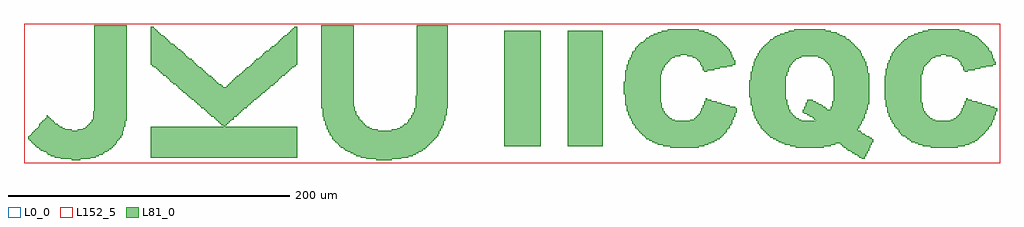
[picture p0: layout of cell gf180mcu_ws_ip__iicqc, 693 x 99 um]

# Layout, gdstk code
import gdstk
lib = gdstk.Library(unit=1e-6, precision=1e-09)
def R(c, l, rs):  # rectangles x0, y0, x1, y1
    for r in rs: c.add(gdstk.rectangle(r[:2], r[2:], *l))
def P(c, l, *ps):  # polygons
    for p in ps: c.add(gdstk.Polygon(p, *l))
L0_0 = (0, 0)
L81_0 = (81, 0)
L152_5 = (152, 5)

gf180mcu_ws_ip__iicqc = lib.new_cell('gf180mcu_ws_ip__iicqc')
R(gf180mcu_ws_ip__iicqc, L0_0, [(0,0,693,99)])
R(gf180mcu_ws_ip__iicqc, L81_0, [(341,12,367,94), (386,12,411,94)])
P(gf180mcu_ws_ip__iicqc, L81_0, [(459,11),(459,12),(454,12),(454,13),(450,13),(450,14),(448,14),(448,15),(446,15),(446,16),(444,16),(444,17),(442,17),(442,18),(441,18),(441,19),(440,19),(440,20),(439,20),(439,21),(438,21),(438,22),(437,22),(437,23),(436,23),(436,24),(435,24),(435,25),(434,25),(434,27),(433,27),(433,28),(432,28),(432,30),(431,30),(431,32),(430,32),(430,34),(429,34),(429,37),(428,37),(428,41),(427,41),(427,49),(426,49),(426,58),(427,58),(427,66),(428,66),(428,70),(429,70),(429,73),(430,73),(430,75),(431,75),(431,77),(432,77),(432,79),(433,79),(433,80),(434,80),(434,82),(435,82),(435,83),(436,83),(436,84),(437,84),(437,85),(438,85),(438,86),(440,86),(440,87),(441,87),(441,88),(442,88),(442,89),(444,89),(444,90),(445,90),(445,91),(447,91),(447,92),(450,92),(450,93),(453,93),(453,94),(457,94),(457,95),(479,95),(479,94),(483,94),(483,93),(486,93),(486,92),(488,92),(488,91),(490,91),(490,90),(492,90),(492,89),(493,89),(493,88),(494,88),(494,87),(495,87),(495,86),(496,86),(496,85),(497,85),(497,84),(498,84),(498,83),(499,83),(499,82),(500,82),(500,81),(501,81),(501,79),(502,79),(502,77),(503,77),(503,75),(504,75),(504,73),(505,73),(505,70),(503,70),(503,69),(499,69),(499,68),(494,68),(494,67),(490,67),(490,66),(485,66),(485,65),(483,65),(483,66),(482,66),(482,69),(481,69),(481,70),(480,70),(480,72),(479,72),(479,73),(478,73),(478,74),(477,74),(477,75),(475,75),(475,76),(471,76),(471,77),(466,77),(466,76),(462,76),(462,75),(460,75),(460,74),(459,74),(459,73),(458,73),(458,72),(457,72),(457,71),(456,71),(456,70),(455,70),(455,68),(454,68),(454,66),(453,66),(453,63),(452,63),(452,43),(453,43),(453,39),(454,39),(454,37),(455,37),(455,35),(456,35),(456,34),(457,34),(457,33),(458,33),(458,32),(460,32),(460,31),(462,31),(462,30),(473,30),(473,31),(476,31),(476,32),(477,32),(477,33),(478,33),(478,34),(479,34),(479,35),(480,35),(480,37),(481,37),(481,39),(482,39),(482,41),(483,41),(483,44),(484,44),(484,46),(485,46),(485,45),(488,45),(488,44),(492,44),(492,43),(495,43),(495,42),(498,42),(498,41),(501,41),(501,40),(505,40),(505,39),(506,39),(506,36),(505,36),(505,33),(504,33),(504,31),(503,31),(503,28),(502,28),(502,27),(501,27),(501,25),(500,25),(500,24),(499,24),(499,22),(498,22),(498,21),(497,21),(497,20),(496,20),(496,19),(495,19),(495,18),(494,18),(494,17),(492,17),(492,16),(490,16),(490,15),(488,15),(488,14),(486,14),(486,13),(483,13),(483,12),(479,12),(479,11)],
  [(595,3),(595,4),(593,4),(593,5),(592,5),(592,6),(590,6),(590,7),(588,7),(588,8),(587,8),(587,9),(585,9),(585,10),(584,10),(584,11),(582,11),(582,12),(581,12),(581,13),(580,13),(580,14),(576,14),(576,13),(573,13),(573,12),(568,12),(568,11),(548,11),(548,12),(544,12),(544,13),(540,13),(540,14),(538,14),(538,15),(536,15),(536,16),(534,16),(534,17),(532,17),(532,18),(530,18),(530,19),(529,19),(529,20),(528,20),(528,21),(527,21),(527,22),(526,22),(526,23),(525,23),(525,24),(524,24),(524,25),(523,25),(523,27),(522,27),(522,28),(521,28),(521,30),(520,30),(520,32),(519,32),(519,34),(518,34),(518,37),(517,37),(517,41),(516,41),(516,47),(515,47),(515,59),(516,59),(516,65),(517,65),(517,69),(518,69),(518,72),(519,72),(519,74),(520,74),(520,76),(552,76),(552,75),(550,75),(550,74),(548,74),(548,73),(547,73),(547,72),(546,72),(546,71),(545,71),(545,70),(544,70),(544,68),(543,68),(543,65),(542,65),(542,62),(541,62),(541,45),(542,45),(542,41),(543,41),(543,38),(544,38),(544,36),(545,36),(545,35),(546,35),(546,34),(547,34),(547,33),(548,33),(548,32),(550,32),(550,31),(552,31),(552,30),(562,30),(562,31),(561,31),(561,32),(560,32),(560,33),(558,33),(558,34),(556,34),(556,35),(554,35),(554,36),(553,36),(553,38),(554,38),(554,40),(555,40),(555,43),(556,43),(556,45),(560,45),(560,44),(562,44),(562,43),(564,43),(564,42),(566,42),(566,41),(567,41),(567,40),(569,40),(569,39),(570,39),(570,38),(573,38),(573,40),(574,40),(574,44),(575,44),(575,62),(574,62),(574,66),(573,66),(573,68),(572,68),(572,70),(571,70),(571,71),(570,71),(570,72),(569,72),(569,73),(568,73),(568,74),(566,74),(566,75),(564,75),(564,76),(521,76),(521,78),(522,78),(522,80),(523,80),(523,81),(524,81),(524,82),(525,82),(525,83),(526,83),(526,84),(527,84),(527,85),(528,85),(528,86),(529,86),(529,87),(530,87),(530,88),(532,88),(532,89),(533,89),(533,90),(535,90),(535,91),(537,91),(537,92),(540,92),(540,93),(543,93),(543,94),(547,94),(547,95),(569,95),(569,94),(573,94),(573,93),(577,93),(577,92),(579,92),(579,91),(581,91),(581,90),(583,90),(583,89),(584,89),(584,88),(586,88),(586,87),(587,87),(587,86),(588,86),(588,85),(589,85),(589,84),(590,84),(590,83),(591,83),(591,82),(592,82),(592,81),(593,81),(593,80),(594,80),(594,78),(595,78),(595,76),(596,76),(596,74),(597,74),(597,72),(598,72),(598,69),(599,69),(599,64),(600,64),(600,42),(599,42),(599,38),(598,38),(598,35),(597,35),(597,32),(596,32),(596,30),(595,30),(595,28),(594,28),(594,27),(593,27),(593,25),(592,25),(592,23),(594,23),(594,22),(595,22),(595,21),(597,21),(597,20),(598,20),(598,19),(600,19),(600,18),(602,18),(602,17),(603,17),(603,15),(602,15),(602,13),(601,13),(601,11),(600,11),(600,9),(599,9),(599,7),(598,7),(598,5),(597,5),(597,3)],
  [(644,11),(644,12),(638,12),(638,13),(635,13),(635,14),(633,14),(633,15),(630,15),(630,16),(629,16),(629,17),(627,17),(627,18),(626,18),(626,19),(624,19),(624,20),(623,20),(623,21),(622,21),(622,22),(621,22),(621,24),(620,24),(620,25),(619,25),(619,26),(618,26),(618,28),(617,28),(617,29),(616,29),(616,31),(615,31),(615,33),(614,33),(614,36),(613,36),(613,40),(612,40),(612,45),(611,45),(611,62),(612,62),(612,67),(613,67),(613,71),(614,71),(614,73),(615,73),(615,76),(616,76),(616,78),(617,78),(617,79),(618,79),(618,81),(619,81),(619,82),(620,82),(620,83),(621,83),(621,84),(622,84),(622,85),(623,85),(623,86),(624,86),(624,87),(625,87),(625,88),(627,88),(627,89),(628,89),(628,90),(630,90),(630,91),(632,91),(632,92),(635,92),(635,93),(638,93),(638,94),(642,94),(642,95),(664,95),(664,94),(668,94),(668,93),(671,93),(671,92),(673,92),(673,91),(675,91),(675,90),(677,90),(677,89),(678,89),(678,88),(679,88),(679,87),(680,87),(680,86),(681,86),(681,85),(682,85),(682,84),(683,84),(683,83),(684,83),(684,82),(685,82),(685,80),(686,80),(686,79),(687,79),(687,77),(688,77),(688,74),(689,74),(689,72),(690,72),(690,70),(688,70),(688,69),(683,69),(683,68),(679,68),(679,67),(675,67),(675,66),(670,66),(670,65),(668,65),(668,66),(667,66),(667,69),(666,69),(666,70),(665,70),(665,72),(664,72),(664,73),(663,73),(663,74),(661,74),(661,75),(659,75),(659,76),(655,76),(655,77),(651,77),(651,76),(647,76),(647,75),(645,75),(645,74),(644,74),(644,73),(643,73),(643,72),(642,72),(642,71),(641,71),(641,70),(640,70),(640,69),(639,69),(639,66),(638,66),(638,63),(637,63),(637,43),(638,43),(638,39),(639,39),(639,37),(640,37),(640,35),(641,35),(641,34),(642,34),(642,33),(643,33),(643,32),(645,32),(645,31),(647,31),(647,30),(658,30),(658,31),(660,31),(660,32),(662,32),(662,33),(663,33),(663,34),(664,34),(664,35),(665,35),(665,37),(666,37),(666,39),(667,39),(667,41),(668,41),(668,44),(669,44),(669,46),(670,46),(670,45),(673,45),(673,44),(677,44),(677,43),(680,43),(680,42),(683,42),(683,41),(686,41),(686,40),(689,40),(689,39),(691,39),(691,37),(690,37),(690,34),(689,34),(689,31),(688,31),(688,29),(687,29),(687,27),(686,27),(686,26),(685,26),(685,24),(684,24),(684,23),(683,23),(683,22),(682,22),(682,21),(681,21),(681,20),(680,20),(680,19),(679,19),(679,18),(678,18),(678,17),(677,17),(677,16),(675,16),(675,15),(673,15),(673,14),(671,14),(671,13),(668,13),(668,12),(663,12),(663,11)],
  [(90,4),(90,26),(142,26),(142,27),(140,27),(140,28),(139,28),(139,29),(138,29),(138,30),(137,30),(137,31),(136,31),(136,32),(135,32),(135,33),(133,33),(133,34),(132,34),(132,35),(131,35),(131,36),(130,36),(130,37),(129,37),(129,38),(128,38),(128,39),(126,39),(126,40),(125,40),(125,41),(124,41),(124,42),(123,42),(123,43),(122,43),(122,44),(121,44),(121,45),(119,45),(119,46),(118,46),(118,47),(117,47),(117,48),(116,48),(116,49),(115,49),(115,50),(113,50),(113,51),(112,51),(112,52),(111,52),(111,53),(110,53),(110,54),(109,54),(109,55),(108,55),(108,56),(106,56),(106,57),(105,57),(105,58),(104,58),(104,59),(103,59),(103,60),(102,60),(102,61),(101,61),(101,62),(99,62),(99,63),(98,63),(98,64),(97,64),(97,65),(96,65),(96,66),(95,66),(95,67),(94,67),(94,68),(92,68),(92,69),(91,69),(91,70),(90,70),(90,97),(92,97),(92,96),(93,96),(93,95),(94,95),(94,94),(95,94),(95,93),(96,93),(96,92),(97,92),(97,91),(99,91),(99,90),(100,90),(100,89),(101,89),(101,88),(102,88),(102,87),(103,87),(103,86),(104,86),(104,85),(106,85),(106,84),(107,84),(107,83),(108,83),(108,82),(109,82),(109,81),(111,81),(111,80),(112,80),(112,79),(113,79),(113,78),(114,78),(114,77),(115,77),(115,76),(116,76),(116,75),(117,75),(117,74),(119,74),(119,73),(120,73),(120,72),(121,72),(121,71),(122,71),(122,70),(123,70),(123,69),(124,69),(124,68),(126,68),(126,67),(127,67),(127,66),(128,66),(128,65),(129,65),(129,64),(130,64),(130,63),(131,63),(131,62),(133,62),(133,61),(134,61),(134,60),(135,60),(135,59),(136,59),(136,58),(137,58),(137,57),(138,57),(138,56),(140,56),(140,55),(141,55),(141,54),(144,54),(144,55),(145,55),(145,56),(146,56),(146,57),(147,57),(147,58),(148,58),(148,59),(149,59),(149,60),(150,60),(150,61),(151,61),(151,62),(153,62),(153,63),(154,63),(154,64),(155,64),(155,65),(156,65),(156,66),(157,66),(157,67),(158,67),(158,68),(160,68),(160,69),(161,69),(161,70),(162,70),(162,71),(163,71),(163,72),(164,72),(164,73),(165,73),(165,74),(167,74),(167,75),(168,75),(168,76),(169,76),(169,77),(170,77),(170,78),(171,78),(171,79),(172,79),(172,80),(174,80),(174,81),(175,81),(175,82),(176,82),(176,83),(178,83),(178,84),(179,84),(179,85),(180,85),(180,86),(181,86),(181,87),(182,87),(182,88),(183,88),(183,89),(184,89),(184,90),(185,90),(185,91),(187,91),(187,92),(188,92),(188,93),(189,93),(189,94),(190,94),(190,95),(191,95),(191,96),(192,96),(192,97),(194,97),(194,70),(193,70),(193,69),(192,69),(192,68),(190,68),(190,67),(189,67),(189,66),(188,66),(188,65),(187,65),(187,64),(186,64),(186,63),(185,63),(185,62),(183,62),(183,61),(182,61),(182,60),(181,60),(181,59),(180,59),(180,58),(179,58),(179,57),(178,57),(178,56),(177,56),(177,55),(175,55),(175,54),(174,54),(174,53),(173,53),(173,52),(172,52),(172,51),(171,51),(171,50),(169,50),(169,49),(168,49),(168,48),(167,48),(167,47),(166,47),(166,46),(165,46),(165,45),(163,45),(163,44),(162,44),(162,43),(161,43),(161,42),(160,42),(160,41),(159,41),(159,40),(158,40),(158,39),(156,39),(156,38),(155,38),(155,37),(154,37),(154,36),(153,36),(153,35),(152,35),(152,34),(151,34),(151,33),(149,33),(149,31),(147,31),(147,30),(146,30),(146,29),(145,29),(145,28),(144,28),(144,27),(143,27),(143,26),(194,26),(194,4)],
  [(34,2),(34,3),(26,3),(26,4),(22,4),(22,5),(19,5),(19,6),(17,6),(17,7),(16,7),(16,8),(14,8),(14,9),(12,9),(12,10),(11,10),(11,11),(9,11),(9,12),(8,12),(8,13),(7,13),(7,14),(6,14),(6,15),(5,15),(5,16),(4,16),(4,17),(3,17),(3,19),(4,19),(4,20),(5,20),(5,21),(6,21),(6,22),(7,22),(7,23),(8,23),(8,24),(9,24),(9,25),(10,25),(10,26),(11,26),(11,28),(12,28),(12,29),(13,29),(13,30),(14,30),(14,31),(15,31),(15,32),(16,32),(16,34),(17,34),(17,33),(18,33),(18,32),(19,32),(19,31),(20,31),(20,30),(21,30),(21,29),(22,29),(22,28),(24,28),(24,27),(25,27),(25,26),(27,26),(27,25),(29,25),(29,24),(34,24),(34,23),(38,23),(38,24),(42,24),(42,25),(44,25),(44,26),(45,26),(45,27),(46,27),(46,28),(47,28),(47,29),(48,29),(48,31),(49,31),(49,37),(50,37),(50,98),(73,98),(73,30),(72,30),(72,26),(71,26),(71,23),(70,23),(70,20),(69,20),(69,18),(68,18),(68,17),(67,17),(67,16),(66,16),(66,14),(65,14),(65,13),(64,13),(64,12),(63,12),(63,11),(62,11),(62,10),(60,10),(60,9),(59,9),(59,8),(57,8),(57,7),(56,7),(56,6),(53,6),(53,5),(51,5),(51,4),(47,4),(47,3),(40,3),(40,2)],
  [(250,2),(250,3),(243,3),(243,4),(239,4),(239,5),(236,5),(236,6),(234,6),(234,7),(232,7),(232,8),(230,8),(230,9),(228,9),(228,10),(227,10),(227,11),(225,11),(225,12),(224,12),(224,13),(223,13),(223,14),(222,14),(222,15),(221,15),(221,16),(220,16),(220,17),(219,17),(219,19),(218,19),(218,20),(217,20),(217,22),(216,22),(216,24),(215,24),(215,27),(214,27),(214,30),(213,30),(213,33),(212,33),(212,39),(211,39),(211,98),(234,98),(234,40),(235,40),(235,37),(236,37),(236,34),(237,34),(237,33),(238,33),(238,31),(239,31),(239,30),(240,30),(240,29),(241,29),(241,28),(242,28),(242,27),(243,27),(243,26),(245,26),(245,25),(247,25),(247,24),(251,24),(251,23),(261,23),(261,24),(265,24),(265,25),(267,25),(267,26),(269,26),(269,27),(270,27),(270,28),(272,28),(272,29),(273,29),(273,31),(274,31),(274,32),(275,32),(275,34),(276,34),(276,36),(277,36),(277,39),(278,39),(278,48),(279,48),(279,98),(301,98),(301,39),(300,39),(300,34),(299,34),(299,30),(298,30),(298,27),(297,27),(297,25),(296,25),(296,23),(295,23),(295,21),(294,21),(294,19),(293,19),(293,18),(292,18),(292,17),(291,17),(291,16),(290,16),(290,15),(289,15),(289,14),(288,14),(288,13),(287,13),(287,12),(286,12),(286,11),(285,11),(285,10),(283,10),(283,9),(282,9),(282,8),(280,8),(280,7),(278,7),(278,6),(276,6),(276,5),(273,5),(273,4),(268,4),(268,3),(261,3),(261,2)])
R(gf180mcu_ws_ip__iicqc, L152_5, [(0,0,693,99)])

lib.write_gds('gf180mcu_ws_ip__iicqc.gds')
